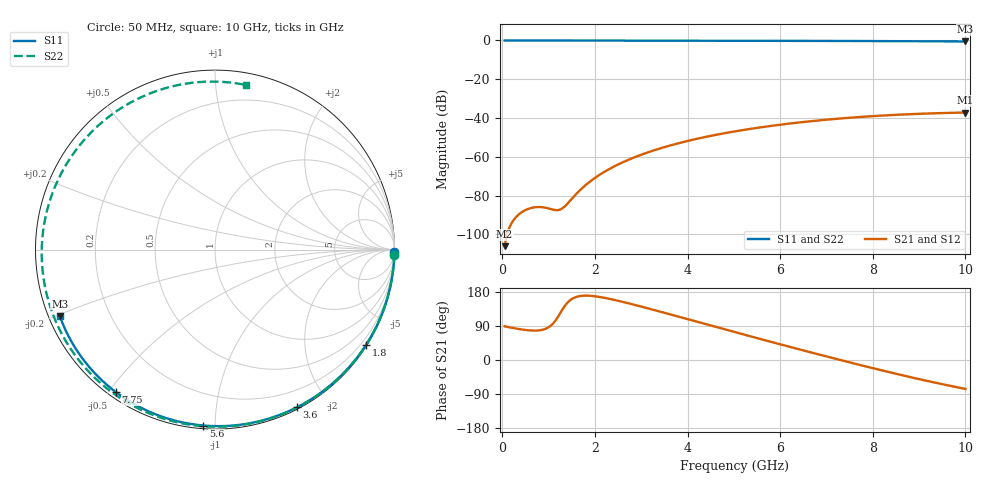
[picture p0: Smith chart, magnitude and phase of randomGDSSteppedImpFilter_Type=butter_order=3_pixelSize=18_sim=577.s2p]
! freq	dB(S11)	phase(S11)	dB(S12)	phase(S12)
!  dB(S21)	phase(S21)	dB(S22)	phase(S22)
!S-par simulation data
#  GHz  S  DB  R 50
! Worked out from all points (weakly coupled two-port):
!   200 points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, 50 MHz to 10 GHz, reference 50 ohm
!   highest |S21| = -37.17 dB at 10 GHz (marker M1); lowest = -106.1 dB at 50 MHz (marker M2)
!   lowest |S11| = -0.5 dB at 10 GHz (marker M3), VSWR 32.90, Z = 1.58 - j10.2 ohm
!   |S11| at or under -10 dB: nowhere
!   |S22| runs from -0.6 to 0.0 dB; largest |S21 - S12| = 0
!   S11 on the Smith chart (normalised r, x): 50 MHz: open; 1.8 GHz: 0.03, -3.47; 3.6 GHz: 0.02, -1.65; 5.6 GHz: 0.02, -0.94; 7.75 GHz: 0.02, -0.52; 10 GHz: 0.03, -0.20
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0.05  -0.00 -0.9  -106.11 88.9  -106.11 88.9  -0.00 -1.6
0.75  -0.02 -13.5  -85.94 77.7  -85.94 77.7  -0.03 -23.7
1.55  -0.04 -27.7  -80.38 164.2  -80.38 164.2  -0.06 -48.3
1.75  -0.04 -31.2  -75.64 169.7  -75.64 169.7  -0.07 -54.3
1.8  -0.04 -32.1  -74.60 169.9  -74.60 169.9  -0.07 -55.8
2.1  -0.05 -37.3  -69.31 166.4  -69.31 166.4  -0.08 -64.6
2.45  -0.06 -43.3  -64.57 157.8  -64.57 157.8  -0.09 -74.6
2.9  -0.07 -51.0  -59.85 144.2  -59.85 144.2  -0.11 -87.2
3.4  -0.08 -59.3  -55.74 127.9  -55.74 127.9  -0.13 -100.7
3.6  -0.08 -62.5  -54.34 121.3  -54.34 121.3  -0.14 -106.0
4.3  -0.11 -73.8  -50.21 97.8  -50.21 97.8  -0.17 -124.1
5.05  -0.13 -85.4  -46.78 72.7  -46.78 72.7  -0.21 -143.0
5.6  -0.16 -93.8  -44.75 54.5  -44.75 54.5  -0.24 -156.7
6.15  -0.18 -101.9  -43.02 36.6  -43.02 36.6  -0.28 -170.5
6.7  -0.21 -109.9  -41.57 18.9  -41.57 18.9  -0.32 175.5
7.25  -0.25 -117.8  -40.35 1.5  -40.35 1.5  -0.37 161.1
7.75  -0.29 -124.9  -39.43 -13.9  -39.43 -13.9  -0.41 147.6
8.35  -0.34 -133.3  -38.55 -31.9  -38.55 -31.9  -0.46 130.6
8.8  -0.39 -139.7  -38.03 -44.9  -38.03 -44.9  -0.50 117.2
9.2  -0.43 -145.4  -37.67 -55.9  -37.67 -55.9  -0.54 104.9
9.6  -0.48 -151.1  -37.39 -66.4  -37.39 -66.4  -0.57 92.3
10  -0.53 -156.8  -37.17 -76.3  -37.17 -76.3  -0.60 79.3
